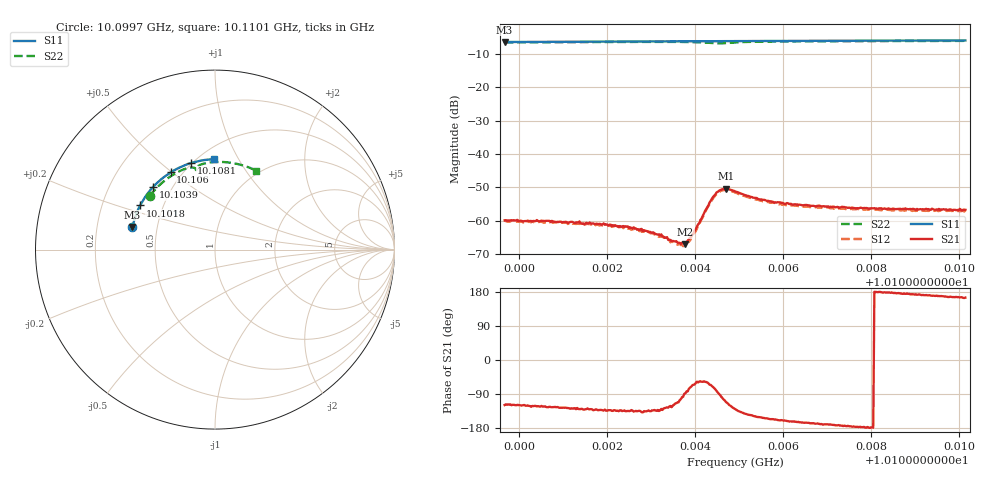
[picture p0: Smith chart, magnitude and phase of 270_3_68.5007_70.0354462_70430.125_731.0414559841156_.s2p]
#  HZ  S  RI  R  50.00
! Rohde & Schwarz Vector Network Analyzer
! Rohde-Schwarz,ZNB20-2Port,1311601062101988,3.16
! Created: UTC 3/20/2024, 5:00:44 PM
! freq[Hz]  re:S11  im:S11  re:S21  im:S21  re:S12  im:S12  re:S22  im:S22
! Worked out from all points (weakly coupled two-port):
!   401 points, 10.0997 GHz to 10.1101 GHz, reference 50 ohm
!   highest |S21| = -50.39 dB at 10.1047 GHz (marker M1); lowest = -67.0 dB at 10.1038 GHz (marker M2)
!   lowest |S11| = -6.4 dB at 10.0997 GHz (marker M3), VSWR 2.83, Z = 18 + j5.88 ohm
!   |S11| at or under -10 dB: nowhere
!   |S22| runs from -6.8 to -6.1 dB; largest |S21 - S12| = 0.00032
!   S11 on the Smith chart (normalised r, x): 10.0997 GHz: 0.36, +0.12; 10.1018 GHz: 0.37, +0.24; 10.1039 GHz: 0.39, +0.36; 10.106 GHz: 0.43, +0.49; 10.1081 GHz: 0.50, +0.64; 10.1101 GHz: 0.59, +0.79
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1.009968e10  -0.4602 0.1264  -0.000491 -0.000887  -0.000378 -0.000902  -0.3626 0.299
1.010064e10  -0.4442 0.1832  -0.00057 -0.000825  -0.000468 -0.000841  -0.322 0.3465
1.010143e10  -0.4263 0.2276  -0.000565 -0.000703  -0.000505 -0.000725  -0.2846 0.381
1.010177e10  -0.4172 0.2462  -0.000592 -0.000688  -0.000527 -0.000696  -0.2672 0.3946
1.010266e10  -0.3894 0.2926  -0.000536 -0.000548  -0.000499 -0.000542  -0.2182 0.4262
1.010318e10  -0.3708 0.3183  -0.000439 -0.000446  -0.000354 -0.000452  -0.1868 0.4419
1.010358e10  -0.3556 0.3369  -0.000202 -0.000452  -0.00014 -0.000431  -0.1612 0.4516
1.010371e10  -0.3504 0.3428  -6.54e-05 -0.000465  -3.35e-05 -0.000439  -0.1522 0.4541
1.010378e10  -0.3472 0.3463  1.83e-05 -0.000447  4.77e-05 -0.000461  -0.1465 0.4554
1.010386e10  -0.344 0.3498  0.000129 -0.000514  0.000181 -0.000452  -0.1406 0.4565
1.010399e10  -0.3385 0.3557  0.000309 -0.000647  0.000368 -0.000557  -0.1308 0.4574
1.010428e10  -0.3261 0.3679  0.000813 -0.00137  0.000908 -0.00129  -0.1095 0.4529
1.010444e10  -0.3192 0.3744  0.000637 -0.0023  0.000776 -0.00215  -0.1039 0.446
1.010457e10  -0.3134 0.3797  -0.000123 -0.00287  0.000104 -0.00275  -0.1055 0.4433
1.01047e10  -0.3076 0.3849  -0.00105 -0.00283  -0.000771 -0.00278  -0.1075 0.4478
1.010491e10  -0.2982 0.3933  -0.00176 -0.00213  -0.00151 -0.00219  -0.1012 0.46
1.010549e10  -0.2703 0.4145  -0.00182 -0.00101  -0.00167 -0.0011  -0.0634 0.4787
1.010596e10  -0.2466 0.4303  -0.00174 -0.000683  -0.00161 -0.000793  -0.0317 0.4851
1.010666e10  -0.2095 0.4514  -0.00164 -0.00038  -0.00154 -0.000522  0.0149 0.4885
1.010805e10  -0.1316 0.4827  -0.00153 -3.78e-05  -0.00146 -0.000195  0.1041 0.4811
1.010842e10  -0.1103 0.4888  -0.00152 5.2e-05  -0.00145 -9.44e-05  0.1271 0.4764
1.011015e10  -0.00702 0.5036  -0.00141 0.000389  -0.0014 0.000223  0.2305 0.4395
